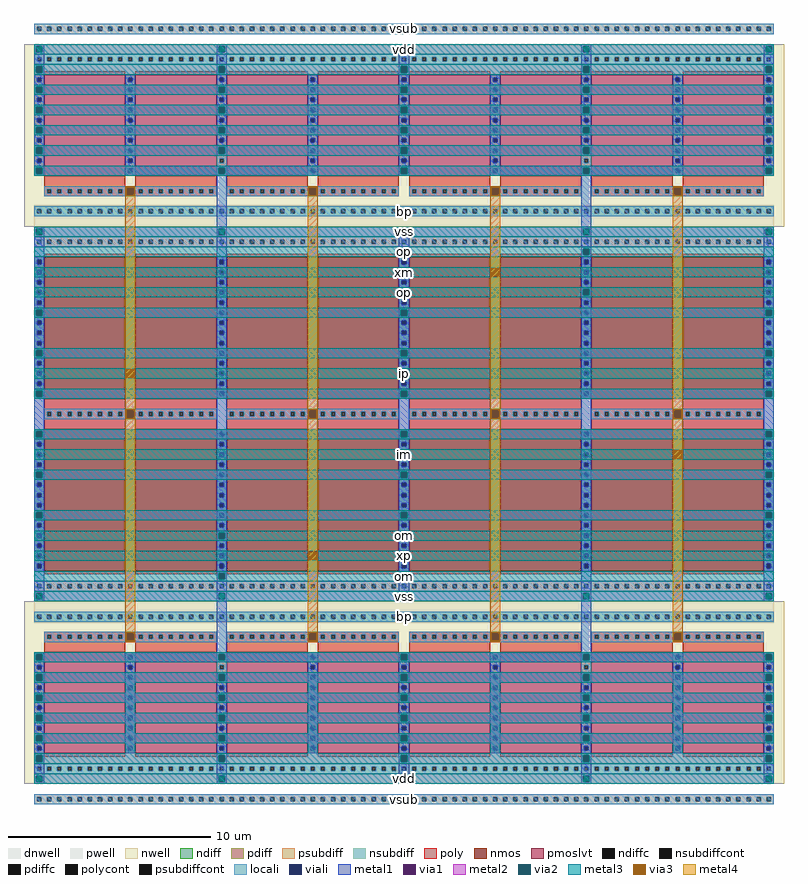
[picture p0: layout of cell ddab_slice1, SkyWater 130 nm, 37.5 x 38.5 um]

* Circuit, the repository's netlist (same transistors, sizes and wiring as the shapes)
* NGSPICE file created from ddab_slice1.ext - technology: sky130A

.subckt inv1p1 in out bp bn vreg vss vsub
X0 vreg in out bp sky130_fd_pr__pfet_01v8_lvt ad=2.5 pd=11 as=1.25 ps=5.5 w=5 l=4
X1 out in vreg bp sky130_fd_pr__pfet_01v8_lvt ad=1.25 pd=5.5 as=2.5 ps=11 w=5 l=4
X2 out in xt bn sky130_fd_pr__nfet_01v8 ad=3.5 pd=15 as=1.75 ps=7.5 w=7 l=4
X3 out in xb bn sky130_fd_pr__nfet_01v8 ad=3.5 pd=15 as=1.75 ps=7.5 w=7 l=4
X4 out in vreg bp sky130_fd_pr__pfet_01v8_lvt ad=1.25 pd=5.5 as=2.5 ps=11 w=5 l=4
X5 xt in vss bn sky130_fd_pr__nfet_01v8 ad=1.75 pd=7.5 as=3.5 ps=15 w=7 l=4
X6 vreg in out bp sky130_fd_pr__pfet_01v8_lvt ad=2.5 pd=11 as=1.25 ps=5.5 w=5 l=4
X7 xb in vss bn sky130_fd_pr__nfet_01v8 ad=1.75 pd=7.5 as=3.5 ps=15 w=7 l=4
.ends

.subckt ddab_slice1 ip im xm xp op om bp bn vdd vss vsub
Xa0 ip om bp bn vdd vss vsub inv1p1
Xa1 xp om bp bn vdd vss vsub inv1p1
Xa2 xm op bp bn vdd vss vsub inv1p1
Xa3 im op bp bn vdd vss vsub inv1p1
.ends

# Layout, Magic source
magic
tech sky130A
<< locali >>
rect 50 3800 3700 3850
rect 50 2900 3700 2950
rect 50 2750 3700 2800
rect 2750 2535 2800 2550
rect 2750 2515 2765 2535
rect 2785 2515 2800 2535
rect 2750 2500 2800 2515
rect 50 1050 3700 1100
rect 50 900 3700 950
rect 50 0 3700 50
<< viali >>
rect 2765 2515 2785 2535
<< metal1 >>
rect 2750 2740 2800 2750
rect 2750 2710 2760 2740
rect 2790 2710 2800 2740
rect 2750 2700 2800 2710
rect 2750 2540 2800 2550
rect 2750 2510 2760 2540
rect 2790 2510 2800 2540
rect 2750 2500 2800 2510
rect 950 1140 1000 1150
rect 950 1110 960 1140
rect 990 1110 1000 1140
rect 950 1100 1000 1110
<< via1 >>
rect 2760 2710 2790 2740
rect 2760 2510 2790 2540
rect 960 1310 990 1340
rect 960 1110 990 1140
<< metal2 >>
rect 2750 2740 2800 2750
rect 2750 2710 2760 2740
rect 2790 2710 2800 2740
rect 2750 2700 2800 2710
rect 2750 2540 2800 2550
rect 2750 2510 2760 2540
rect 2790 2510 2800 2540
rect 2750 2500 2800 2510
rect 950 1340 1000 1350
rect 950 1310 960 1340
rect 990 1310 1000 1340
rect 950 1300 1000 1310
rect 950 1140 1000 1150
rect 950 1110 960 1140
rect 990 1110 1000 1140
rect 950 1100 1000 1110
<< via2 >>
rect 2760 2710 2790 2740
rect 2760 2510 2790 2540
rect 960 1310 990 1340
rect 960 1110 990 1140
<< metal3 >>
rect 50 3700 3700 3750
rect 50 2800 3700 2850
rect 50 2740 3700 2750
rect 50 2710 2760 2740
rect 2790 2710 3700 2740
rect 50 2700 3700 2710
rect 50 2645 3700 2650
rect 50 2605 2305 2645
rect 2345 2605 3700 2645
rect 50 2600 3700 2605
rect 50 2540 3700 2550
rect 50 2510 2760 2540
rect 2790 2510 3700 2540
rect 50 2500 3700 2510
rect 50 2145 3700 2150
rect 50 2105 505 2145
rect 545 2105 3700 2145
rect 50 2100 3700 2105
rect 50 1745 3700 1750
rect 50 1705 3205 1745
rect 3245 1705 3700 1745
rect 50 1700 3700 1705
rect 50 1340 3700 1350
rect 50 1310 960 1340
rect 990 1310 3700 1340
rect 50 1300 3700 1310
rect 50 1245 3700 1250
rect 50 1205 1405 1245
rect 1445 1205 3700 1245
rect 50 1200 3700 1205
rect 50 1140 3700 1150
rect 50 1110 960 1140
rect 990 1110 3700 1140
rect 50 1100 3700 1110
rect 50 1000 3700 1050
rect 50 100 3700 150
<< via3 >>
rect 2305 2605 2345 2645
rect 505 2105 545 2145
rect 3205 1705 3245 1745
rect 1405 1205 1445 1245
<< metal4 >>
rect 2300 2645 2350 2650
rect 2300 2605 2305 2645
rect 2345 2605 2350 2645
rect 2300 2600 2350 2605
rect 500 2145 550 2150
rect 500 2105 505 2145
rect 545 2105 550 2145
rect 500 2100 550 2105
rect 3200 1745 3250 1750
rect 3200 1705 3205 1745
rect 3245 1705 3250 1745
rect 3200 1700 3250 1705
rect 1400 1245 1450 1250
rect 1400 1205 1405 1245
rect 1445 1205 1450 1245
rect 1400 1200 1450 1205
use inv1p1  a0
transform 1 0 50 0 1 0
box -50 0 1000 3850
use inv1p1  a1
transform -1 0 1900 0 1 0
box -50 0 1000 3850
use inv1p1  a2
transform 1 0 1850 0 1 0
box -50 0 1000 3850
use inv1p1  a3
transform -1 0 3700 0 1 0
box -50 0 1000 3850
<< labels >>
rlabel metal3 50 2100 3700 2150 0 ip
port 1 nsew
rlabel metal3 50 1700 3700 1750 0 im
port 2 nsew
rlabel metal3 50 2600 3700 2650 0 xm
port 3 nsew
rlabel metal3 50 1200 3700 1250 0 xp
port 4 nsew
rlabel metal3 50 2700 3700 2750 0 op
port 5 nsew
rlabel metal3 50 2500 3700 2550 0 op
port 5 nsew
rlabel metal3 50 1300 3700 1350 0 om
port 6 nsew
rlabel metal3 50 1100 3700 1150 0 om
port 6 nsew
rlabel locali 50 2900 3700 2950 0 bp
port 7 nsew
rlabel locali 50 900 3700 950 0 bp
port 7 nsew
rlabel locali 50 2750 3700 2800 0 bn
port 8 nsew
rlabel locali 50 1050 3700 1100 0 bn
port 8 nsew
rlabel metal3 50 3700 3700 3750 0 vdd
port 9 nsew
rlabel metal3 50 100 3700 150 0 vdd
port 9 nsew
rlabel metal3 50 2800 3700 2850 0 vss
port 10 nsew
rlabel metal3 50 1000 3700 1050 0 vss
port 10 nsew
rlabel locali 50 3800 3700 3850 0 vsub
port 11 nsew
rlabel locali 50 0 3700 50 0 vsub
port 11 nsew
<< end >>

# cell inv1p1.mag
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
